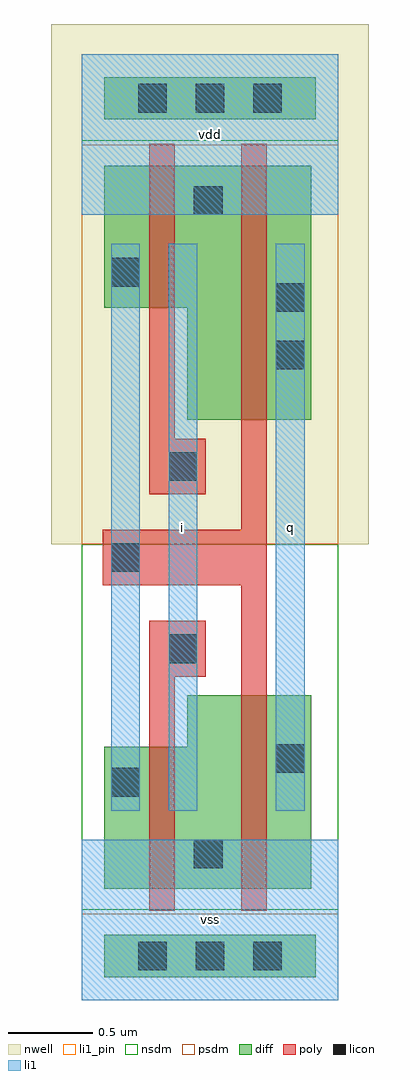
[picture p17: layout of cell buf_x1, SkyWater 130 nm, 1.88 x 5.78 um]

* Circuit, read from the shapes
.subckt buf_x1 i q vdd vss
XM1 vss i n1 VSUBS sky130_fd_pr__nfet_01v8 w=0.84 l=0.15
XM2 q n1 vss VSUBS sky130_fd_pr__nfet_01v8 w=1.145 l=0.15
XM3 vdd i n1 n2 sky130_fd_pr__pfet_01v8 w=0.84 l=0.15
XM4 q n1 vdd n2 sky130_fd_pr__pfet_01v8 w=1.505 l=0.15
.ends

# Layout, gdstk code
import gdstk
lib = gdstk.Library(unit=1e-6, precision=1e-09)
def R(c, l, rs):  # rectangles x0, y0, x1, y1
    for r in rs: c.add(gdstk.rectangle(r[:2], r[2:], *l))
def A(c, l, x, y, w, h, nx, ny, dx, dy):  # array of equal rectangles
    R(c, l, [(x+i*dx, y+j*dy, x+i*dx+w, y+j*dy+h) for i in range(nx) for j in range(ny)])
def P(c, l, *ps):  # polygons
    for p in ps: c.add(gdstk.Polygon(p, *l))
nwell = (64, 20)
diff = (65, 20)
poly = (66, 20)
licon = (66, 44)
li1_pin = (67, 16)
li1 = (67, 20)
nsdm = (93, 44)
psdm = (94, 20)

buf_x1 = lib.new_cell('buf_x1')
R(buf_x1, nwell, [(-0.18,2.7,1.7,5.78)])
R(buf_x1, diff, [(0.135,0.135,1.385,0.385), (0.135,5.215,1.385,5.465)])
P(buf_x1, diff, [(0.135,0.66),(0.135,1.5),(0.625,1.5),(0.625,1.805),(1.36,1.805),(1.36,0.66)],
  [(0.625,3.435),(0.625,4.1),(0.135,4.1),(0.135,4.94),(1.36,4.94),(1.36,3.435)])
P(buf_x1, poly, [(0.945,0.53),(0.945,2.455),(0.125,2.455),(0.125,2.785),(0.945,2.785),(0.945,5.07),(1.095,5.07),(1.095,0.53)],
  [(0.4,2.995),(0.4,5.07),(0.55,5.07),(0.55,3.325),(0.735,3.325),(0.735,2.995)],
  [(0.4,0.53),(0.4,2.245),(0.735,2.245),(0.735,1.915),(0.55,1.915),(0.55,0.53)])
A(buf_x1, licon, 0.335, 0.175, 0.17, 0.17, 3, 2, 0.34, 5.08)
R(buf_x1, licon, [(0.665,0.78,0.835,0.95), (0.175,1.205,0.345,1.375), (1.15,1.345,1.32,1.515), (0.515,1.995,0.685,2.165), (0.175,2.535,0.345,2.705), (0.515,3.075,0.685,3.245), (1.15,3.735,1.32,3.905), (1.15,4.075,1.32,4.245), (0.175,4.225,0.345,4.395), (0.665,4.65,0.835,4.82)])
R(buf_x1, li1_pin, [(0,0,1.52,0.95), (0.515,1.12,0.685,4.48), (1.15,1.12,1.32,4.48), (0,4.65,1.52,5.6)])
R(buf_x1, li1, [(0,0,1.52,0.95), (0.175,1.12,0.345,4.48), (0.515,1.12,0.685,4.48), (1.15,1.12,1.32,4.48), (0,4.65,1.52,5.6)])
R(buf_x1, nsdm, [(0,0.535,1.52,2.7), (0,5.09,1.52,5.6)])
R(buf_x1, psdm, [(0,0,1.52,0.51), (0,2.7,1.52,5.065)])
buf_x1.add(gdstk.Label('vdd', (0.76,5.125), layer=67, texttype=16))
buf_x1.add(gdstk.Label('vss', (0.76,0.475), layer=67, texttype=16))
buf_x1.add(gdstk.Label('i', (0.6,2.8), layer=67, texttype=16))
buf_x1.add(gdstk.Label('q', (1.235,2.8), layer=67, texttype=16))

lib.write_gds('buf_x1.gds')
